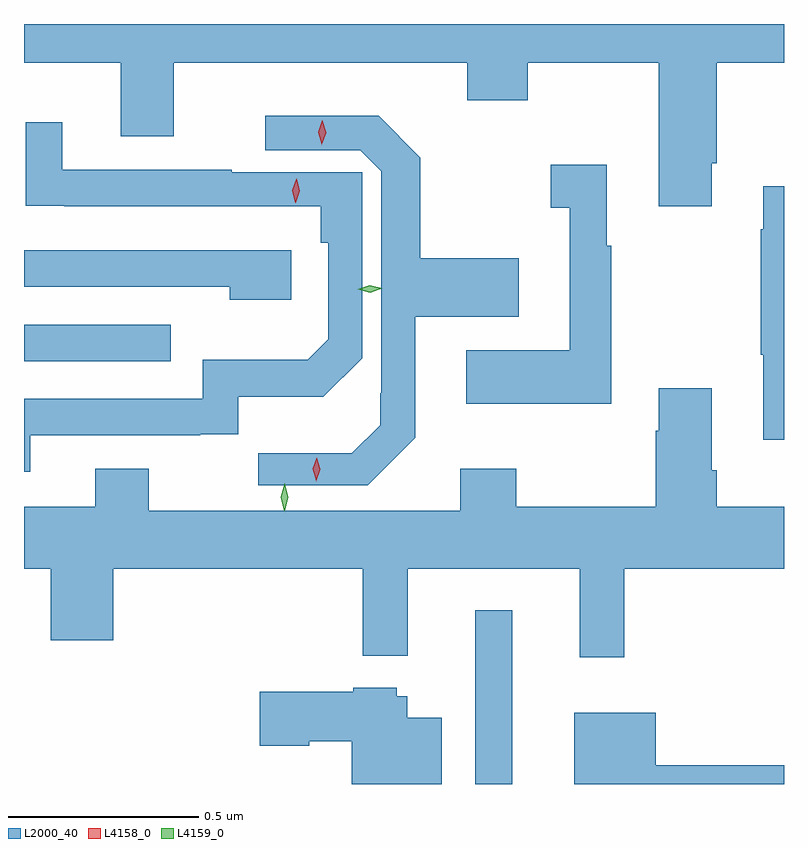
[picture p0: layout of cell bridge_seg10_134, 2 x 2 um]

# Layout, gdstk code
import gdstk
lib = gdstk.Library(unit=1e-6, precision=1e-09)
def R(c, l, rs):  # rectangles x0, y0, x1, y1
    for r in rs: c.add(gdstk.rectangle(r[:2], r[2:], *l))
def P(c, l, *ps):  # polygons
    for p in ps: c.add(gdstk.Polygon(p, *l))
L2000_40 = (2000, 40)
L4158_0 = (4158, 0)
L4159_0 = (4159, 0)

bridge_seg10_134 = lib.new_cell('bridge_seg10_134')
R(bridge_seg10_134, L2000_40, [(357.933,1298.418,358.03,1298.875), (356.745,1299.531,357.131,1299.627)])
P(bridge_seg10_134, L2000_40, [(358.555,1300.051),(358.568,1300.051),(358.568,1300.316),(358.745,1300.316),(358.745,1300.418),(356.745,1300.418),(356.745,1300.316),(356.999,1300.316),(356.999,1300.122),(357.139,1300.122),(357.139,1300.316),(357.911,1300.316),(357.911,1300.217),(358.071,1300.217),(358.071,1300.316),(358.415,1300.316),(358.415,1299.939),(358.555,1299.939)],
  [(357.775,1299.329),(357.775,1299.648),(358.047,1299.648),(358.047,1299.801),(357.788,1299.801),(357.788,1300.066),(357.678,1300.176),(357.38,1300.176),(357.38,1300.086),(357.63,1300.086),(357.685,1300.031),(357.685,1299.446),(357.683,1299.446),(357.683,1299.362),(357.608,1299.288),(357.493,1299.288),(357.493,1299.289),(357.362,1299.289),(357.362,1299.204),(357.649,1299.204)],
  [(356.761,1299.336),(357.209,1299.336),(357.209,1299.339),(357.309,1299.339),(357.309,1299.437),(357.533,1299.437),(357.635,1299.539),(357.635,1300.028),(357.292,1300.028),(357.292,1300.035),(356.845,1300.035),(356.845,1300.159),(356.749,1300.159),(356.749,1299.94),(356.851,1299.94),(356.851,1299.938),(357.526,1299.938),(357.526,1299.842),(357.546,1299.842),(357.546,1299.589),(357.492,1299.535),(357.216,1299.535),(357.216,1299.432),(356.745,1299.432),(356.745,1299.24),(356.761,1299.24)],
  [(358.291,1299.835),(358.279,1299.835),(358.279,1300.048),(358.131,1300.048),(358.131,1299.935),(358.181,1299.935),(358.181,1299.559),(357.909,1299.559),(357.909,1299.419),(358.291,1299.419)],
  [(358.745,1299.991),(358.691,1299.991),(358.691,1299.878),(358.684,1299.878),(358.684,1299.547),(358.691,1299.547),(358.691,1299.324),(358.745,1299.324)],
  [(357.448,1299.822),(356.745,1299.822),(356.745,1299.726),(357.287,1299.726),(357.287,1299.692),(357.448,1299.692)],
  [(358.325,1298.984),(358.745,1298.984),(358.745,1299.148),(358.568,1299.148),(358.568,1299.244),(358.555,1299.244),(358.555,1299.46),(358.415,1299.46),(358.415,1299.347),(358.408,1299.347),(358.408,1299.148),(358.041,1299.148),(358.041,1299.247),(357.893,1299.247),(357.893,1299.137),(357.073,1299.137),(357.073,1299.247),(356.933,1299.247),(356.933,1299.148),(356.745,1299.148),(356.745,1298.984),(356.816,1298.984),(356.816,1298.796),(356.98,1298.796),(356.98,1298.984),(357.637,1298.984),(357.637,1298.756),(357.755,1298.756),(357.755,1298.984),(358.208,1298.984),(358.208,1298.751),(358.325,1298.751)],
  [(357.844,1298.593),(357.754,1298.593),(357.754,1298.649),(357.726,1298.649),(357.726,1298.671),(357.612,1298.671),(357.612,1298.661),(357.366,1298.661),(357.366,1298.519),(357.495,1298.519),(357.495,1298.531),(357.608,1298.531),(357.608,1298.418),(357.844,1298.418)],
  [(358.745,1298.468),(358.408,1298.468),(358.408,1298.605),(358.193,1298.605),(358.193,1298.418),(358.745,1298.418)])
P(bridge_seg10_134, L4158_0, [(357.529,1300.1),(357.529,1300.101),(357.519,1300.133),(357.53,1300.165),(357.53,1300.165),(357.53,1300.165),(357.54,1300.132),(357.529,1300.101)],
  [(357.514,1299.215),(357.514,1299.216),(357.505,1299.247),(357.516,1299.277),(357.516,1299.277),(357.516,1299.277),(357.525,1299.246),(357.514,1299.216)],
  [(357.459,1299.948),(357.459,1299.948),(357.451,1299.98),(357.462,1300.01),(357.463,1300.011),(357.463,1300.01),(357.471,1299.979),(357.46,1299.948)])
P(bridge_seg10_134, L4159_0, [(357.656,1299.711),(357.623,1299.72),(357.623,1299.72),(357.623,1299.72),(357.655,1299.731),(357.688,1299.722),(357.688,1299.722),(357.688,1299.722)],
  [(357.431,1299.136),(357.43,1299.137),(357.421,1299.173),(357.431,1299.209),(357.431,1299.209),(357.431,1299.209),(357.441,1299.173),(357.431,1299.137)])

lib.write_gds('bridge_seg10_134.gds')
